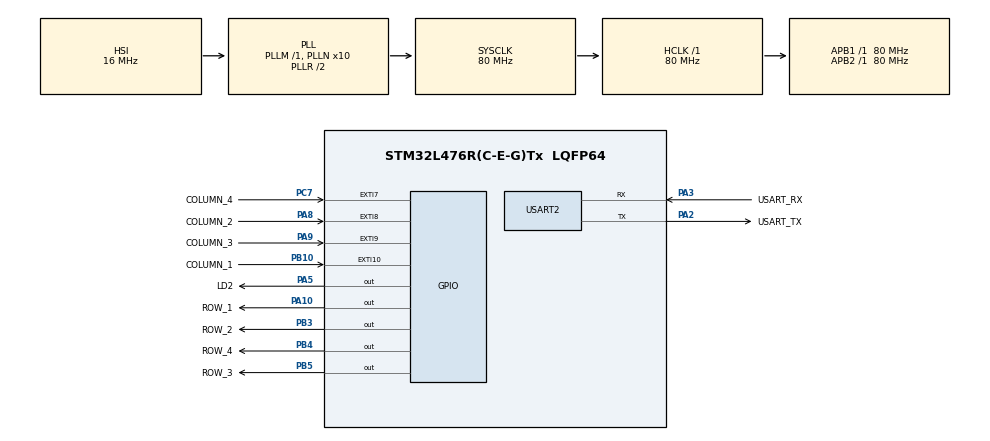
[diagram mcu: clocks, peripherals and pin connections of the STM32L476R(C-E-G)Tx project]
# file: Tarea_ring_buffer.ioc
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Mcu.Family=STM32L4
Mcu.Name=STM32L476R(C-E-G)Tx
Mcu.Package=LQFP64
NVIC.EXTI15_10_IRQn=true\:0\:0\:false\:false\:true\:true\:true\:true
NVIC.EXTI9_5_IRQn=true\:0\:0\:false\:false\:true\:true\:true\:true
NVIC.PriorityGroup=NVIC_PRIORITYGROUP_4
NVIC.USART2_IRQn=true\:0\:0\:false\:false\:true\:true\:true\:true
PA10.GPIO_Label=ROW_1
PA10.GPIO_ModeDefaultOutputPP=GPIO_MODE_OUTPUT_OD
PA10.GPIO_PuPd=GPIO_NOPULL
PA10.GPIO_Speed=GPIO_SPEED_FREQ_VERY_HIGH
PA10.PinState=GPIO_PIN_RESET
PA10.Signal=GPIO_Output
PA13\ (JTMS-SWDIO).GPIO_Label=TMS
PA13\ (JTMS-SWDIO).Mode=Serial_Wire
PA13\ (JTMS-SWDIO).Signal=SYS_JTMS-SWDIO
PA14\ (JTCK-SWCLK).GPIO_Label=TCK
PA14\ (JTCK-SWCLK).Mode=Serial_Wire
PA14\ (JTCK-SWCLK).Signal=SYS_JTCK-SWCLK
PA2.GPIO_Label=USART_TX
PA2.GPIO_Mode=GPIO_MODE_AF_PP
PA2.GPIO_PuPd=GPIO_NOPULL
PA2.GPIO_Speed=GPIO_SPEED_FREQ_VERY_HIGH
PA2.Mode=Asynchronous
PA2.Signal=USART2_TX
PA3.GPIO_Label=USART_RX
PA3.GPIO_Mode=GPIO_MODE_AF_PP
PA3.GPIO_PuPd=GPIO_NOPULL
PA3.GPIO_Speed=GPIO_SPEED_FREQ_VERY_HIGH
PA3.Mode=Asynchronous
PA3.Signal=USART2_RX
PA5.GPIO_Label=LD2
PA5.Signal=GPIO_Output
PA8.GPIO_Label=COLUMN_2
PA8.GPIO_ModeDefaultEXTI=GPIO_MODE_IT_FALLING
PA8.GPIO_PuPd=GPIO_PULLUP
PA8.Signal=GPXTI8
PA9.GPIO_Label=COLUMN_3
PA9.GPIO_ModeDefaultEXTI=GPIO_MODE_IT_FALLING
PA9.GPIO_PuPd=GPIO_PULLUP
PA9.Signal=GPXTI9
PB10.GPIO_Label=COLUMN_1
PB10.GPIO_ModeDefaultEXTI=GPIO_MODE_IT_FALLING
PB10.GPIO_PuPd=GPIO_PULLUP
PB10.Signal=GPXTI10
PB3\ (JTDO-TRACESWO).GPIO_Label=ROW_2
PB3\ (JTDO-TRACESWO).GPIO_ModeDefaultOutputPP=GPIO_MODE_OUTPUT_OD
PB3\ (JTDO-TRACESWO).GPIO_PuPd=GPIO_NOPULL
PB3\ (JTDO-TRACESWO).GPIO_Speed=GPIO_SPEED_FREQ_VERY_HIGH
PB3\ (JTDO-TRACESWO).PinState=GPIO_PIN_RESET
PB3\ (JTDO-TRACESWO).Signal=GPIO_Output
PB4\ (NJTRST).GPIO_Label=ROW_4
PB4\ (NJTRST).GPIO_ModeDefaultOutputPP=GPIO_MODE_OUTPUT_OD
PB4\ (NJTRST).GPIO_PuPd=GPIO_NOPULL
PB4\ (NJTRST).GPIO_Speed=GPIO_SPEED_FREQ_VERY_HIGH
PB4\ (NJTRST).PinState=GPIO_PIN_RESET
PB4\ (NJTRST).Signal=GPIO_Output
PB5.GPIO_Label=ROW_3
PB5.GPIO_ModeDefaultOutputPP=GPIO_MODE_OUTPUT_OD
PB5.GPIO_PuPd=GPIO_NOPULL
PB5.GPIO_Speed=GPIO_SPEED_FREQ_VERY_HIGH
PB5.PinState=GPIO_PIN_RESET
PB5.Signal=GPIO_Output
PC14-OSC32_IN\ (PC14).Mode=LSE-External-Oscillator
PC14-OSC32_IN\ (PC14).Signal=RCC_OSC32_IN
PC15-OSC32_OUT\ (PC15).Mode=LSE-External-Oscillator
PC15-OSC32_OUT\ (PC15).Signal=RCC_OSC32_OUT
PC7.GPIO_Label=COLUMN_4
PC7.GPIO_ModeDefaultEXTI=GPIO_MODE_IT_FALLING
PC7.GPIO_PuPd=GPIO_PULLUP
PC7.Signal=GPXTI7
PH0-OSC_IN\ (PH0).Signal=RCC_OSC_IN
PH1-OSC_OUT\ (PH1).Signal=RCC_OSC_OUT
ProjectManager.HeapSize=0x200
ProjectManager.StackSize=0x400
ProjectManager.TargetToolchain=CMake
RCC.ADCFreq_Value=64000000
RCC.AHBFreq_Value=80000000
RCC.APB1Freq_Value=80000000
RCC.APB1TimFreq_Value=80000000
RCC.APB2Freq_Value=80000000
RCC.APB2TimFreq_Value=80000000
RCC.CortexFreq_Value=80000000
RCC.HCLKFreq_Value=80000000
RCC.HSE_VALUE=8000000
RCC.HSI_VALUE=16000000
RCC.MSI_VALUE=4000000
RCC.PLLN=10
RCC.PLLSourceVirtual=RCC_PLLSOURCE_HSI
RCC.PREFETCH_ENABLE=1
RCC.SYSCLKFreq_VALUE=80000000
RCC.SYSCLKSource=RCC_SYSCLKSOURCE_PLLCLK
RCC.USBFreq_Value=64000000
RCC.VCOOutputFreq_Value=160000000
USART2.VirtualMode-Asynchronous=VM_ASYNC
board=NUCLEO-L476RG

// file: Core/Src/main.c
/* USER CODE BEGIN Header */
/**
  ******************************************************************************
  * @file           : main.c
  * @brief          : Main program body
  ******************************************************************************
  * @attention
  *
  * Copyright (c) 2025 STMicroelectronics.
  * All rights reserved.
  *
  * This software is licensed under terms that can be found in the LICENSE file
  * in the root directory of this software component.
  * If no LICENSE file comes with this software, it is provided AS-IS.
  *
  ******************************************************************************
  */
/* USER CODE END Header */
#include "main.h"
#include "keypad.h"
#include "ring_buffer.h"
#include <string.h>
#include <stdio.h>

UART_HandleTypeDef huart2;

/* USER CODE BEGIN PV */

ring_buffer_t rb;
uint8_t buffer_memory[BUFFER_CAPACITY];
uint8_t destination_array[BUFFER_CAPACITY];

/* USER CODE END PV */

void SystemClock_Config(void);
static void MX_GPIO_Init(void);
static void MX_USART2_UART_Init(void);

/* USER CODE BEGIN 0 */
uint32_t key_pressed_tick = 0;
uint16_t column_pressed = 0;

uint32_t debounce_tick = 0;
void HAL_GPIO_EXTI_Callback(uint16_t GPIO_Pin)
{
  if ((debounce_tick + 200) > HAL_GetTick()) {
    return;
  }
  debounce_tick = HAL_GetTick();
  key_pressed_tick = HAL_GetTick();
  column_pressed = GPIO_Pin;
}

uint8_t rx_data;
void HAL_UART_RxCpltCallback(UART_HandleTypeDef *huart)
{
    // Verificamos que la interrupción provenga de USART2
    if (huart->Instance == USART2)
    {
      ring_buffer_write(&rb, rx_data);
      //HAL_UART_Transmit(&huart2, (uint8_t *)&key, 1, 1000);

      // Reiniciar la recepción para seguir recibiendo datos
      HAL_UART_Receive_IT(&huart2, &rx_data, 1);
    }
}

/**
 * @brief Muestra los elementos actuales del ring buffer por UART.
 * @param rb        Puntero a la instancia del ring buffer.
 * @param huart     Puntero al manejador de UART para la transmisión.
 */
void show_rb(ring_buffer_t *rb, UART_HandleTypeDef *huart) {
  uint8_t size = ring_buffer_size(rb); // Obtener el número de elementos en el buffer

  // Transmitir los elementos por UART
  HAL_UART_Transmit(huart, (uint8_t *)"rb:", 3, 1000); // Encabezado

  // Mostrar los elementos del ring buffer
  for (uint8_t i = 0; i < size; i++) {
      uint8_t index = (rb->tail + i) % rb->capacity; // Calcular el índice circular
      HAL_UART_Transmit(huart, &rb->buffer[index], 1, 1000); // Transmitir cada byte
  }

  HAL_UART_Transmit(huart, (uint8_t *)"\r\n", 2, 1000); // Nueva línea
}

/**
 * @brief Procesa comandos en el ring buffer y ejecuta acciones.
 * @param rb Puntero al ring buffer.
 */
void command_handler(ring_buffer_t *rb, uint8_t *door_status) {
  uint8_t buffer_copy[BUFFER_CAPACITY];
  uint8_t size = ring_buffer_size(rb);

  // Copiar el contenido del buffer
  for (uint8_t i = 0; i < size; i++) {
      uint8_t index = (rb->tail + i) % rb->capacity;
      buffer_copy[i] = rb->buffer[index];
  }

  // Buscar comandos de 5 caracteres
  for (uint8_t i = 0; i <= size - 5; i++) {
      if (buffer_copy[i] == '#' && buffer_copy[i+1] == '*' && buffer_copy[i+4] == '#') {
          uint8_t command[5] = {
              buffer_copy[i], buffer_copy[i+1], buffer_copy[i+2],
              buffer_copy[i+3], buffer_copy[i+4]
          };

          if (memcmp(command, "#*A*#", 5) == 0) {
              HAL_GPIO_WritePin(LD2_GPIO_Port, LD2_Pin, GPIO_PIN_SET);
              *door_status = 1;  // Corregido: Usa *

              rb->tail = (rb->tail + i + 5) % rb->capacity;
              rb->is_full = 0;
              return;

          } else if (memcmp(command, "#*C*#", 5) == 0) {
              HAL_GPIO_WritePin(LD2_GPIO_Port, LD2_Pin, GPIO_PIN_RESET);
              *door_status = 0;  // Corregido: Usa *

              rb->tail = (rb->tail + i + 5) % rb->capacity;
              rb->is_full = 0;
              return;

          } else if (memcmp(command, "#*1*#", 5) == 0) {
              char status_msg[20];
              snprintf(status_msg, sizeof(status_msg), "Estado: %d\r\n", *door_status);
              HAL_UART_Transmit(&huart2, (uint8_t *)status_msg, strlen(status_msg), 1000);

              rb->tail = (rb->tail + i + 5) % rb->capacity;
              rb->is_full = 0;
              return;

          } else if (memcmp(command, "#*0*#", 5) == 0) {
              ring_buffer_reset(rb);
              return;
          }
      }
  }
}

uint8_t door_status = 0;
/* USER CODE END 0 */

int main(void)
{

  /* MCU Configuration--------------------------------------------------------*/

  /* Reset of all peripherals, Initializes the Flash interface and the Systick. */
  HAL_Init();

  /* Configure the system clock */
  SystemClock_Config();

  /* Initialize all configured peripherals */
  MX_GPIO_Init();
  MX_USART2_UART_Init();
  /* USER CODE BEGIN 2 */
  keypad_init();

  HAL_UART_Transmit(&huart2, (uint8_t *)"Hello, World\r\n", 14, HAL_MAX_DELAY);
  ring_buffer_init(&rb, buffer_memory, BUFFER_CAPACITY);
  /* USER CODE END 2 */

  /* Infinite loop */
  /* USER CODE BEGIN WHILE */
  while (1)
  {
    if (column_pressed != 0 && (key_pressed_tick + 5) < HAL_GetTick() ) {
      uint8_t key = keypad_scan(column_pressed);

      ring_buffer_write(&rb, key);
      //HAL_UART_Transmit(&huart2, (uint8_t *)&key, 1, 1000);
      show_rb(&rb, &huart2);
      HAL_UART_Receive_IT(&huart2, &rx_data, 1);

      column_pressed = 0;
    }
    /* USER CODE END WHILE */
    command_handler(&rb, &door_status);
  }
}

void SystemClock_Config(void)
{
  RCC_OscInitTypeDef RCC_OscInitStruct = {0};
  RCC_ClkInitTypeDef RCC_ClkInitStruct = {0};

  /** Configure the main internal regulator output voltage
  */
  if (HAL_PWREx_ControlVoltageScaling(PWR_REGULATOR_VOLTAGE_SCALE1) != HAL_OK)
  {
    Error_Handler();
  }

  /** Initializes the RCC Oscillators according to the specified parameters
  * in the RCC_OscInitTypeDef structure.
  */
  RCC_OscInitStruct.OscillatorType = RCC_OSCILLATORTYPE_HSI;
  RCC_OscInitStruct.HSIState = RCC_HSI_ON;
  RCC_OscInitStruct.HSICalibrationValue = RCC_HSICALIBRATION_DEFAULT;
  RCC_OscInitStruct.PLL.PLLState = RCC_PLL_ON;
  RCC_OscInitStruct.PLL.PLLSource = RCC_PLLSOURCE_HSI;
  RCC_OscInitStruct.PLL.PLLM = 1;
  RCC_OscInitStruct.PLL.PLLN = 10;
  RCC_OscInitStruct.PLL.PLLP = RCC_PLLP_DIV7;
  RCC_OscInitStruct.PLL.PLLQ = RCC_PLLQ_DIV2;
  RCC_OscInitStruct.PLL.PLLR = RCC_PLLR_DIV2;
  if (HAL_RCC_OscConfig(&RCC_OscInitStruct) != HAL_OK)
  {
    Error_Handler();
  }

  /** Initializes the CPU, AHB and APB buses clocks
  */
  RCC_ClkInitStruct.ClockType = RCC_CLOCKTYPE_HCLK|RCC_CLOCKTYPE_SYSCLK
                              |RCC_CLOCKTYPE_PCLK1|RCC_CLOCKTYPE_PCLK2;
  RCC_ClkInitStruct.SYSCLKSource = RCC_SYSCLKSOURCE_PLLCLK;
  RCC_ClkInitStruct.AHBCLKDivider = RCC_SYSCLK_DIV1;
  RCC_ClkInitStruct.APB1CLKDivider = RCC_HCLK_DIV1;
  RCC_ClkInitStruct.APB2CLKDivider = RCC_HCLK_DIV1;

  if (HAL_RCC_ClockConfig(&RCC_ClkInitStruct, FLASH_LATENCY_4) != HAL_OK)
  {
    Error_Handler();
  }
}

static void MX_USART2_UART_Init(void)
{

  huart2.Instance = USART2;
  huart2.Init.BaudRate = 115200;
  huart2.Init.WordLength = UART_WORDLENGTH_8B;
  huart2.Init.StopBits = UART_STOPBITS_1;
  huart2.Init.Parity = UART_PARITY_NONE;
  huart2.Init.Mode = UART_MODE_TX_RX;
  huart2.Init.HwFlowCtl = UART_HWCONTROL_NONE;
  huart2.Init.OverSampling = UART_OVERSAMPLING_16;
  huart2.Init.OneBitSampling = UART_ONE_BIT_SAMPLE_DISABLE;
  huart2.AdvancedInit.AdvFeatureInit = UART_ADVFEATURE_NO_INIT;
  if (HAL_UART_Init(&huart2) != HAL_OK)
  {
    Error_Handler();
  }

}

static void MX_GPIO_Init(void)
{
  GPIO_InitTypeDef GPIO_InitStruct = {0};

  /* GPIO Ports Clock Enable */
  __HAL_RCC_GPIOC_CLK_ENABLE();
  __HAL_RCC_GPIOH_CLK_ENABLE();
  __HAL_RCC_GPIOA_CLK_ENABLE();
  __HAL_RCC_GPIOB_CLK_ENABLE();

  /*Configure GPIO pin Output Level */
  HAL_GPIO_WritePin(GPIOA, LD2_Pin|ROW_1_Pin, GPIO_PIN_RESET);

  /*Configure GPIO pin Output Level */
  HAL_GPIO_WritePin(GPIOB, ROW_2_Pin|ROW_4_Pin|ROW_3_Pin, GPIO_PIN_RESET);

  /*Configure GPIO pin : LD2_Pin */
  GPIO_InitStruct.Pin = LD2_Pin;
  GPIO_InitStruct.Mode = GPIO_MODE_OUTPUT_PP;
  GPIO_InitStruct.Pull = GPIO_NOPULL;
  GPIO_InitStruct.Speed = GPIO_SPEED_FREQ_LOW;
  HAL_GPIO_Init(LD2_GPIO_Port, &GPIO_InitStruct);

  /*Configure GPIO pin : COLUMN_1_Pin */
  GPIO_InitStruct.Pin = COLUMN_1_Pin;
  GPIO_InitStruct.Mode = GPIO_MODE_IT_FALLING;
  GPIO_InitStruct.Pull = GPIO_PULLUP;
  HAL_GPIO_Init(COLUMN_1_GPIO_Port, &GPIO_InitStruct);

  /*Configure GPIO pin : COLUMN_4_Pin */
  GPIO_InitStruct.Pin = COLUMN_4_Pin;
  GPIO_InitStruct.Mode = GPIO_MODE_IT_FALLING;
  GPIO_InitStruct.Pull = GPIO_PULLUP;
  HAL_GPIO_Init(COLUMN_4_GPIO_Port, &GPIO_InitStruct);

  /*Configure GPIO pins : COLUMN_2_Pin COLUMN_3_Pin */
  GPIO_InitStruct.Pin = COLUMN_2_Pin|COLUMN_3_Pin;
  GPIO_InitStruct.Mode = GPIO_MODE_IT_FALLING;
  GPIO_InitStruct.Pull = GPIO_PULLUP;
  HAL_GPIO_Init(GPIOA, &GPIO_InitStruct);

  /*Configure GPIO pin : ROW_1_Pin */
  GPIO_InitStruct.Pin = ROW_1_Pin;
  GPIO_InitStruct.Mode = GPIO_MODE_OUTPUT_OD;
  GPIO_InitStruct.Pull = GPIO_NOPULL;
  GPIO_InitStruct.Speed = GPIO_SPEED_FREQ_VERY_HIGH;
  HAL_GPIO_Init(ROW_1_GPIO_Port, &GPIO_InitStruct);

  /*Configure GPIO pins : ROW_2_Pin ROW_4_Pin ROW_3_Pin */
  GPIO_InitStruct.Pin = ROW_2_Pin|ROW_4_Pin|ROW_3_Pin;
  GPIO_InitStruct.Mode = GPIO_MODE_OUTPUT_OD;
  GPIO_InitStruct.Pull = GPIO_NOPULL;
  GPIO_InitStruct.Speed = GPIO_SPEED_FREQ_VERY_HIGH;
  HAL_GPIO_Init(GPIOB, &GPIO_InitStruct);

  /* EXTI interrupt init*/
  HAL_NVIC_SetPriority(EXTI9_5_IRQn, 0, 0);
  HAL_NVIC_EnableIRQ(EXTI9_5_IRQn);

  HAL_NVIC_SetPriority(EXTI15_10_IRQn, 0, 0);
  HAL_NVIC_EnableIRQ(EXTI15_10_IRQn);

}

void Error_Handler(void)
{
  __disable_irq();
  while (1)
  {
  }
}
